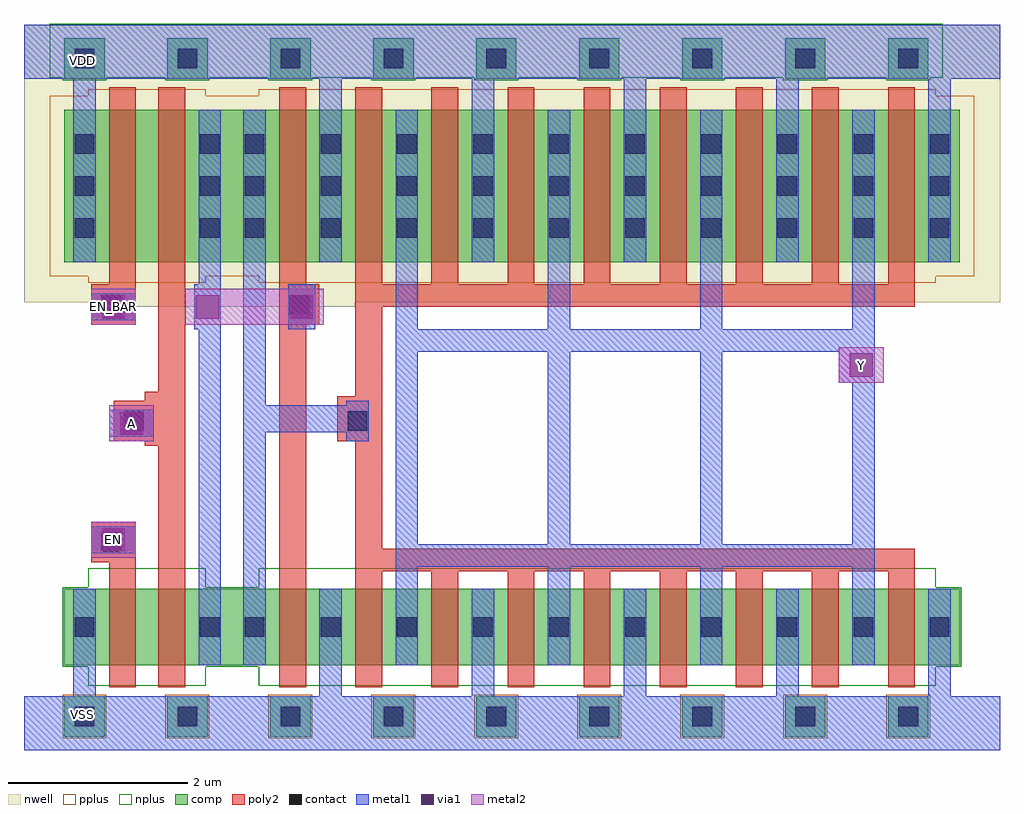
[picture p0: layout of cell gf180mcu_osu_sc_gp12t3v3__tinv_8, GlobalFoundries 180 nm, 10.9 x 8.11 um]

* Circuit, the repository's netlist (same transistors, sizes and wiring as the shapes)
* Copyright 2022 Google LLC
*
* Licensed under the Apache License, Version 2.0 (the "License");
* you may not use this file except in compliance with the License.
* You may obtain a copy of the License at
*
*      http://www.apache.org/licenses/LICENSE-2.0
*
* Unless required by applicable law or agreed to in writing, software
* distributed under the License is distributed on an "AS IS" BASIS,
* WITHOUT WARRANTIES OR CONDITIONS OF ANY KIND, either express or implied.
* See the License for the specific language governing permissions and
* limitations under the License.

.option scale=0.05u

.subckt gf180mcu_osu_sc_gp12t3v3__tinv_8 A Y EN EN_BAR
X0 Y a_36_19 VSS VSS nmos_3p3 w=17 l=6
X1 a_36_19 A a_25_19 VSS nmos_3p3 w=17 l=6
X2 VSS a_36_19 Y VSS nmos_3p3 w=17 l=6
X3 a_36_19 A a_25_109 VDD pmos_3p3 w=34 l=6
X4 VSS a_36_19 a_36_19 VSS nmos_3p3 w=17 l=6
X5 VSS a_36_19 Y VSS nmos_3p3 w=17 l=6
X6 a_25_109 EN_BAR VDD VDD pmos_3p3 w=34 l=6
X7 a_25_19 EN VSS VSS nmos_3p3 w=17 l=6
X8 VSS a_36_19 Y VSS nmos_3p3 w=17 l=6
X9 VDD a_36_19 Y VDD pmos_3p3 w=34 l=6
X10 Y a_36_19 VDD VDD pmos_3p3 w=34 l=6
X11 VSS a_36_19 Y VSS nmos_3p3 w=17 l=6
X12 Y a_36_19 VDD VDD pmos_3p3 w=34 l=6
X13 VDD a_36_19 Y VDD pmos_3p3 w=34 l=6
X14 VDD a_36_19 Y VDD pmos_3p3 w=34 l=6
X15 Y a_36_19 VSS VSS nmos_3p3 w=17 l=6
X16 Y a_36_19 VSS VSS nmos_3p3 w=17 l=6
X17 Y a_36_19 VDD VDD pmos_3p3 w=34 l=6
X18 Y a_36_19 VSS VSS nmos_3p3 w=17 l=6
X19 VDD a_36_19 Y VDD pmos_3p3 w=34 l=6
X20 Y a_36_19 VDD VDD pmos_3p3 w=34 l=6
X21 VDD a_36_19 a_36_19 VDD pmos_3p3 w=34 l=6
.ends

** hspice subcircuit dictionary

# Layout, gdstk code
import gdstk
lib = gdstk.Library(unit=1e-6, precision=1e-09)
def R(c, l, rs):  # rectangles x0, y0, x1, y1
    for r in rs: c.add(gdstk.rectangle(r[:2], r[2:], *l))
def A(c, l, x, y, w, h, nx, ny, dx, dy):  # array of equal rectangles
    R(c, l, [(x+i*dx, y+j*dy, x+i*dx+w, y+j*dy+h) for i in range(nx) for j in range(ny)])
nwell = (21, 0)
comp = (22, 0)
poly2 = (30, 0)
pplus = (31, 0)
nplus = (32, 0)
contact = (33, 0)
metal1 = (34, 0)
via1 = (35, 0)
metal2 = (36, 0)

gf180mcu_osu_sc_gp12t3v3 = lib.new_cell('gf180mcu_osu_sc_gp12t3v3__tinv_8')
R(gf180mcu_osu_sc_gp12t3v3, nwell, [(0.85,4.95,3.7,5), (0,5,10.9,8.1)])
A(gf180mcu_osu_sc_gp12t3v3, comp, 0.45, 0.15, 0.45, 0.45, 9, 2, 1.15, 7.35)
R(gf180mcu_osu_sc_gp12t3v3, comp, [(0.45,0.95,10.45,1.8), (0.45,5.45,10.45,7.15)])
A(gf180mcu_osu_sc_gp12t3v3, poly2, 3.7, 0.7, 0.3, 1.3, 8, 1, 0.85, 0)
A(gf180mcu_osu_sc_gp12t3v3, poly2, 2.85, 5.2, 0.3, 2.2, 9, 1, 0.85, 0)
R(gf180mcu_osu_sc_gp12t3v3, poly2, [(0.95,0.7,1.25,2.1), (1.5,0.7,1.8,3.4), (2.85,0.7,3.15,4.75), (3.7,2,9.95,2.25), (0.75,2.1,1.25,2.55), (3.7,2.25,4,3.45), (1.35,3.4,1.8,3.45), (1,3.45,1.8,3.9), (3.5,3.45,4,3.95), (1.35,3.9,1.8,4), (3.7,3.95,4,4.95), (1.5,4,1.8,7.4), (0.75,4.75,1.25,5.2), (2.85,4.75,3.3,5.2), (3.7,4.95,9.95,5.2), (0.95,5.2,1.25,7.4)])
A(gf180mcu_osu_sc_gp12t3v3, pplus, 0.43, 0.13, 0.49, 0.49, 9, 1, 1.15, 0)
R(gf180mcu_osu_sc_gp12t3v3, pplus, [(0.72,5.22,2.03,5.29), (2.62,5.22,10.18,5.29), (0.29,5.29,10.61,7.31), (0.72,7.31,2.03,7.38), (2.62,7.31,10.18,7.38)])
A(gf180mcu_osu_sc_gp12t3v3, nplus, 0.43, 7.48, 0.49, 0.03, 9, 1, 1.15, 0)
R(gf180mcu_osu_sc_gp12t3v3, nplus, [(0.72,0.72,2.03,0.93), (2.62,0.72,10.18,0.93), (0.43,0.93,10.47,1.82), (0.72,1.82,2.03,2.03), (2.62,1.82,10.18,2.03), (0.29,7.51,10.26,8.11)])
A(gf180mcu_osu_sc_gp12t3v3, contact, 0.565, 0.265, 0.22, 0.22, 9, 2, 1.15, 7.35)
A(gf180mcu_osu_sc_gp12t3v3, contact, 2.465, 1.265, 0.22, 0.22, 10, 2, 0.85, 4.455)
A(gf180mcu_osu_sc_gp12t3v3, contact, 0.565, 5.72, 0.22, 0.22, 1, 3, 0, 0.47)
A(gf180mcu_osu_sc_gp12t3v3, contact, 1.965, 5.72, 0.22, 0.22, 1, 3, 0, 0.47)
A(gf180mcu_osu_sc_gp12t3v3, contact, 2.465, 6.19, 0.22, 0.22, 10, 2, 0.85, 0.47)
R(gf180mcu_osu_sc_gp12t3v3, contact, [(0.565,1.265,0.785,1.485), (1.965,1.265,2.185,1.485), (0.865,2.215,1.085,2.435), (1.115,3.565,1.335,3.785), (3.615,3.565,3.835,3.785), (0.865,4.865,1.085,5.085), (2.965,4.865,3.185,5.085)])
A(gf180mcu_osu_sc_gp12t3v3, metal1, 3.3, 0.6, 0.25, 1.2, 5, 1, 1.7, 0)
A(gf180mcu_osu_sc_gp12t3v3, metal1, 4.15, 0.95, 0.25, 1.1, 4, 1, 1.7, 0)
A(gf180mcu_osu_sc_gp12t3v3, metal1, 4.15, 2.3, 0.25, 2.15, 3, 1, 1.7, 0)
A(gf180mcu_osu_sc_gp12t3v3, metal1, 4.15, 4.7, 0.25, 2.45, 4, 1, 1.7, 0)
A(gf180mcu_osu_sc_gp12t3v3, metal1, 3.3, 5.45, 0.25, 2.05, 5, 1, 1.7, 0)
R(gf180mcu_osu_sc_gp12t3v3, metal1, [(0,0,10.9,0.6), (0.55,0.6,0.8,1.8), (1.95,0.95,2.2,4.7), (2.45,0.95,2.7,3.55), (4.15,2.05,9.5,2.3), (0.75,2.2,1.25,2.5), (9.25,2.3,9.5,4.1), (3.6,3.45,3.85,3.55), (0.95,3.5,1.45,3.8), (2.45,3.55,3.85,3.85), (2.45,3.85,2.7,7.15), (3.6,3.85,3.85,3.9), (9.1,4.1,9.5,4.45), (4.15,4.45,9.5,4.7), (1.9,4.7,2.2,5.2), (2.95,4.7,3.25,5.2), (0.75,4.8,1.25,5.1), (1.95,5.2,2.2,7.15), (0.55,5.45,0.8,7.5), (0,7.5,10.9,8.1)])
A(gf180mcu_osu_sc_gp12t3v3, via1, 0.87, 4.82, 0.26, 0.26, 3, 1, 1.05, 0)
R(gf180mcu_osu_sc_gp12t3v3, via1, [(0.87,2.22,1.13,2.48), (1.07,3.52,1.33,3.78), (9.22,4.17,9.48,4.43)])
R(gf180mcu_osu_sc_gp12t3v3, metal2, [(0.75,2.15,1.25,2.55), (0.95,3.45,1.45,3.85), (9.1,4.1,9.6,4.5), (0.75,4.75,1.25,5.15), (1.8,4.75,3.35,5.15)])
gf180mcu_osu_sc_gp12t3v3.add(gdstk.Label('VDD', (0.65,7.7), layer=34, texttype=0))
gf180mcu_osu_sc_gp12t3v3.add(gdstk.Label('VSS', (0.65,0.4), layer=34, texttype=0))
gf180mcu_osu_sc_gp12t3v3.add(gdstk.Label('A', (1.2,3.65), layer=36, texttype=10))
gf180mcu_osu_sc_gp12t3v3.add(gdstk.Label('Y', (9.35,4.3), layer=36, texttype=10))
gf180mcu_osu_sc_gp12t3v3.add(gdstk.Label('EN', (1,2.35), layer=36, texttype=10))
gf180mcu_osu_sc_gp12t3v3.add(gdstk.Label('EN_BAR', (1,4.95), layer=36, texttype=10))

lib.write_gds('gf180mcu_osu_sc_gp12t3v3__tinv_8.gds')
